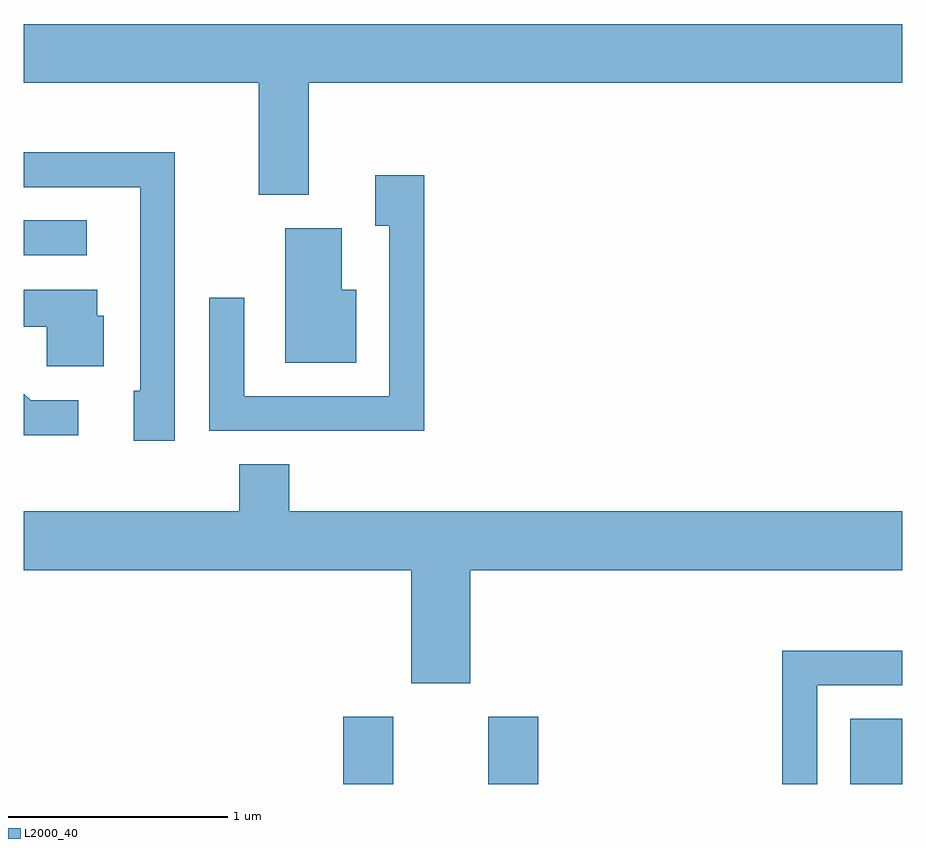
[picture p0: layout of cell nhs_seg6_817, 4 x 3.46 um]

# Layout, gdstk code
import gdstk
lib = gdstk.Library(unit=1e-6, precision=1e-09)
def R(c, l, rs):  # rectangles x0, y0, x1, y1
    for r in rs: c.add(gdstk.rectangle(r[:2], r[2:], *l))
def P(c, l, *ps):  # polygons
    for p in ps: c.add(gdstk.Polygon(p, *l))
L2000_40 = (2000, 40)

nhs_seg6_817 = lib.new_cell('nhs_seg6_817')
R(nhs_seg6_817, L2000_40, [(211.066,1560.162,211.294,1560.469), (211.726,1560.162,211.954,1560.469), (213.376,1560.162,213.611,1560.459), (209.611,1562.571,209.898,1562.729)])
P(nhs_seg6_817, L2000_40, [(210.909,1563.356),(213.611,1563.356),(213.611,1563.624),(209.611,1563.624),(209.611,1563.356),(210.681,1563.356),(210.681,1562.846),(210.909,1562.846)],
  [(210.299,1563.039),(209.611,1563.039),(209.611,1562.881),(210.141,1562.881),(210.141,1561.954),(210.111,1561.954),(210.111,1561.726),(210.299,1561.726)],
  [(211.434,1562.934),(211.211,1562.934),(211.211,1562.706),(211.276,1562.706),(211.276,1561.929),(210.614,1561.929),(210.614,1562.378),(210.456,1562.378),(210.456,1561.771),(211.434,1561.771)],
  [(211.124,1562.414),(211.059,1562.414),(211.059,1562.694),(210.801,1562.694),(210.801,1562.081),(211.124,1562.081)],
  [(209.974,1562.294),(209.944,1562.294),(209.944,1562.414),(209.611,1562.414),(209.611,1562.246),(209.716,1562.246),(209.716,1562.066),(209.974,1562.066)],
  [(209.858,1561.909),(209.642,1561.909),(209.611,1561.94),(209.611,1561.751),(209.858,1561.751)],
  [(211.644,1561.136),(213.611,1561.136),(213.611,1561.404),(210.819,1561.404),(210.819,1561.619),(210.591,1561.619),(210.591,1561.404),(209.611,1561.404),(209.611,1561.136),(211.376,1561.136),(211.376,1560.621),(211.644,1560.621)],
  [(213.224,1560.611),(213.611,1560.611),(213.611,1560.769),(213.066,1560.769),(213.066,1560.162),(213.224,1560.162)])

lib.write_gds('nhs_seg6_817.gds')
